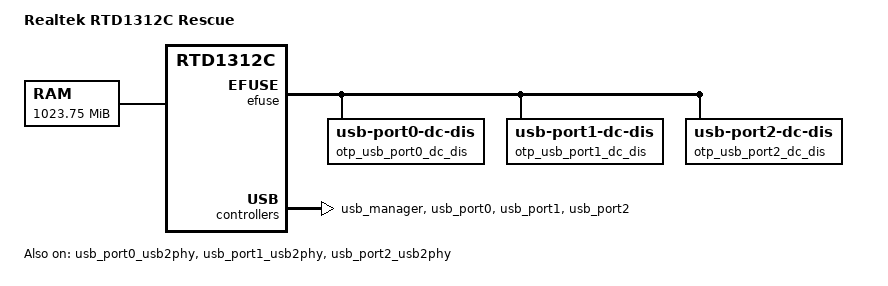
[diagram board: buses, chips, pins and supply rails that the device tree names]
// SPDX-License-Identifier: (GPL-2.0-or-later OR BSD-2-Clause)
/*
 * Copyright (c) 2019-2021 Realtek Semiconductor Corp.
 */

/dts-v1/;

#include "rtd13xx-rescue.dtsi"

/ {
	model = "Realtek RTD1312C Rescue";
	compatible = "realtek,rescue", "realtek,rtd1312c";

	memory@40000 {
		device_type = "memory";
		reg = <0x00040000 0x3ffc0000>; /* 1 GiB */
	};
};

&emmc {
	compatible = "rtd1312c-dw-cqe-emmc";
};

&efuse {
	otp_usb_port0_dc_dis: usb-port0-dc-dis@4fe,0 {
		reg = <0x4fe 0x1>;
		bits = <0 4>;
	};
	otp_usb_port1_dc_dis: usb-port1-dc-dis@4fe,4 {
		reg = <0x4fe 0x1>;
		bits = <4 4>;
	};
	otp_usb_port2_dc_dis: usb-port2-dc-dis@4ff,0 {
		reg = <0x4ff 0x1>;
		bits = <0 4>;
	};
};

&usb_manager {
	status = "okay";
};

&usb_port0_usb2phy {
	compatible = "realtek,rtd1312c-usb2phy";
	nvmem-cells = <&otp_usb_port0_dc_cal>, <&otp_usb_port0_dc_dis>;
	nvmem-cell-names = "usb-dc-cal", "usb-dc-dis";
	status = "okay";
};

&usb_port0 {
	realtek,power-gpio = <&gpio 48 GPIO_ACTIVE_LOW>;
	status = "okay";

	dwc3@20000 {
		dr_mode = "otg"; /* otg, host, peripheral*/
		usb-role-switch;
		role-switch-default-mode = "peripheral"; /* host, peripheral*/
		status = "okay";
	};
};

&usb_port1_usb2phy {
	compatible = "realtek,rtd1312c-usb2phy";
	nvmem-cells = <&otp_usb_port1_dc_cal>, <&otp_usb_port1_dc_dis>;
	nvmem-cell-names = "usb-dc-cal", "usb-dc-dis";
	status = "okay";
};

&usb_port1 {
	realtek,power-gpio = <&gpio 49 GPIO_ACTIVE_LOW>;
	status = "okay";
};

&usb_port2_usb2phy {
	compatible = "realtek,rtd1312c-usb2phy";
	nvmem-cells = <&otp_usb_port2_dc_cal>, <&otp_usb_port2_dc_dis>;
	nvmem-cell-names = "usb-dc-cal", "usb-dc-dis";
	status = "okay";
};

&usb_port2_usb3phy {
	status = "disable";
};

&usb_port2 {
	realtek,power-gpio = <&gpio 49 GPIO_ACTIVE_LOW>;
	status = "okay";

	dwc3@50000 {
		dr_mode = "host"; /*host, peripheral*/
		usb-phy = <&usb_port2_usb2phy>;
		phys = <&usb_port2_usb2phy>;
		phy-names = "usb2-phy";
		maximum-speed = "high-speed";
		status = "okay";
	};
};

&type_c {
	compatible= "realtek,rtd1312c-type-c";
	realtek,usb-port = <&usb_port0>;
	realtek,connector-switch-gpio = <&gpio 30 GPIO_ACTIVE_HIGH>;
	status = "disabled";
};

/delete-node/ &nic;
/delete-node/ &sd;
/delete-node/ &pcie_trans;
/delete-node/ &pcie;
/delete-node/ &pcie1;
/delete-node/ &pcie2;
/delete-node/ &pcie0_phy;
/delete-node/ &pcie1_phy;
/delete-node/ &pcie2_phy;
